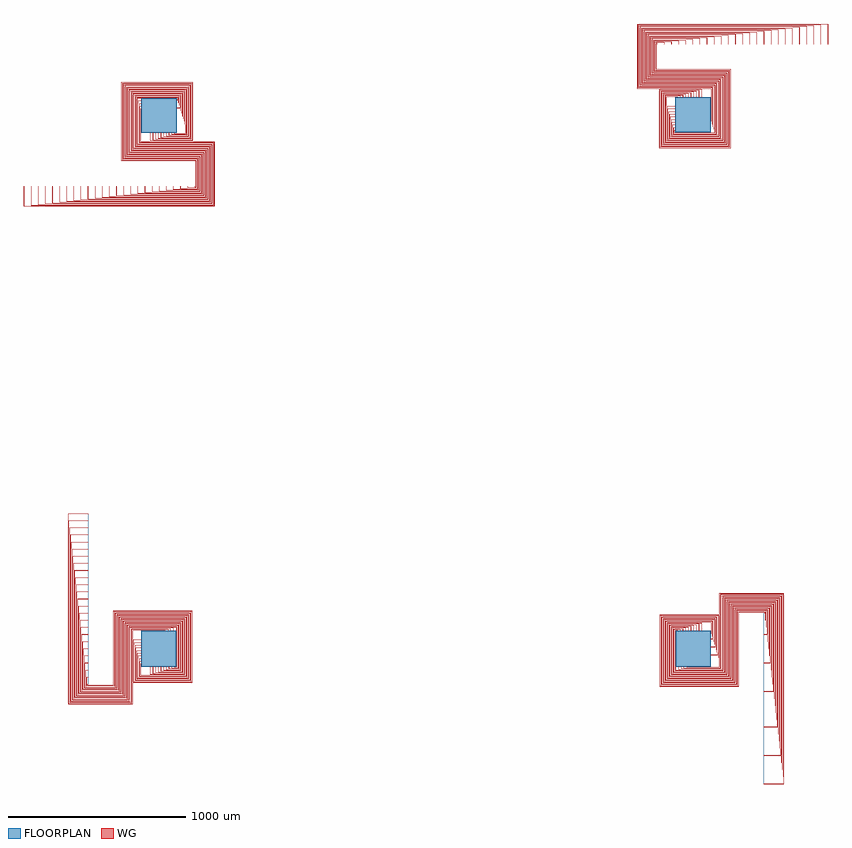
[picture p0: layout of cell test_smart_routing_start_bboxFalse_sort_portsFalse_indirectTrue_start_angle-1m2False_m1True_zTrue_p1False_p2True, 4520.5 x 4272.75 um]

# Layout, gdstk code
import gdstk
lib = gdstk.Library(unit=1e-6, precision=1e-09)
def R(c, l, rs):  # rectangles x0, y0, x1, y1
    for r in rs: c.add(gdstk.rectangle(r[:2], r[2:], *l))
def P(c, l, *ps):  # polygons
    for p in ps: c.add(gdstk.Polygon(p, *l))
WG = (1, 0)
FLOORPLAN = (10, 0)

test_smart_routing_start = lib.new_cell('test_smart_routing_start_bboxFalse_sort_portsFalse_indirectTrue_start_angle-1m2False_m1True_zTrue_p1False_p2True')
P(test_smart_routing_start, WG, [(-404.5,-204.75),(-404.5,-199.75),(-400,-199.75),(-400,-200.25),(-404,-200.25),(-404,-204.25),(-257.5,-204.25),(-257.5,212.5),(185.25,212.5),(185.25,-190),(-145,-190),(-145,50.25),(-100,50.25),(-100,49.75),(-144.5,49.75),(-144.5,-189.5),(184.75,-189.5),(184.75,212),(-257,212),(-257,-204.75)],
  [(-409,-209.25),(-409,-159.75),(-400,-159.75),(-400,-160.25),(-408.5,-160.25),(-408.5,-208.75),(-253,-208.75),(-253,208),(180.75,208),(180.75,-185.5),(-140.5,-185.5),(-140.5,35.25),(-100,35.25),(-100,34.75),(-140,34.75),(-140,-185),(180.25,-185),(180.25,207.5),(-252.5,207.5),(-252.5,-209.25)],
  [(-413.5,-213.75),(-413.5,-119.75),(-400,-119.75),(-400,-120.25),(-413,-120.25),(-413,-213.25),(-248.5,-213.25),(-248.5,203.5),(176.25,203.5),(176.25,-181),(-136,-181),(-136,20.25),(-100,20.25),(-100,19.75),(-135.5,19.75),(-135.5,-180.5),(175.75,-180.5),(175.75,203),(-248,203),(-248,-213.75)],
  [(-418,-218.25),(-418,-79.75),(-400,-79.75),(-400,-80.25),(-417.5,-80.25),(-417.5,-217.75),(-244,-217.75),(-244,199),(171.75,199),(171.75,-176.5),(-131.5,-176.5),(-131.5,5.25),(-100,5.25),(-100,4.75),(-131,4.75),(-131,-176),(171.25,-176),(171.25,198.5),(-243.5,198.5),(-243.5,-218.25)],
  [(-422.5,-222.75),(-422.5,-39.75),(-400,-39.75),(-400,-40.25),(-422,-40.25),(-422,-222.25),(-239.5,-222.25),(-239.5,194.5),(167.25,194.5),(167.25,-172),(-127,-172),(-127,-9.75),(-100,-9.75),(-100,-10.25),(-126.5,-10.25),(-126.5,-171.5),(166.75,-171.5),(166.75,194),(-239,194),(-239,-222.75)],
  [(-427,-227.25),(-427,0.25),(-400,0.25),(-400,-0.25),(-426.5,-0.25),(-426.5,-226.75),(-235,-226.75),(-235,190),(162.75,190),(162.75,-167.5),(-122.5,-167.5),(-122.5,-24.75),(-100,-24.75),(-100,-25.25),(-122,-25.25),(-122,-167),(162.25,-167),(162.25,189.5),(-234.5,189.5),(-234.5,-227.25)],
  [(-431.5,-231.75),(-431.5,40.25),(-400,40.25),(-400,39.75),(-431,39.75),(-431,-231.25),(-230.5,-231.25),(-230.5,185.5),(158.25,185.5),(158.25,-163),(-118,-163),(-118,-39.75),(-100,-39.75),(-100,-40.25),(-117.5,-40.25),(-117.5,-162.5),(157.75,-162.5),(157.75,185),(-230,185),(-230,-231.75)],
  [(-436,-236.25),(-436,80.25),(-400,80.25),(-400,79.75),(-435.5,79.75),(-435.5,-235.75),(-226,-235.75),(-226,181),(153.75,181),(153.75,-158.5),(-113.5,-158.5),(-113.5,-54.75),(-100,-54.75),(-100,-55.25),(-113,-55.25),(-113,-158),(153.25,-158),(153.25,180.5),(-225.5,180.5),(-225.5,-236.25)],
  [(-440.5,-240.75),(-440.5,120.25),(-400,120.25),(-400,119.75),(-440,119.75),(-440,-240.25),(-221.5,-240.25),(-221.5,176.5),(149.25,176.5),(149.25,-154),(-109,-154),(-109,-69.75),(-100,-69.75),(-100,-70.25),(-108.5,-70.25),(-108.5,-153.5),(148.75,-153.5),(148.75,176),(-221,176),(-221,-240.75)],
  [(-445,-245.25),(-445,160.25),(-400,160.25),(-400,159.75),(-444.5,159.75),(-444.5,-244.75),(-217,-244.75),(-217,172),(144.75,172),(144.75,-149.5),(-104.5,-149.5),(-104.5,-84.75),(-100,-84.75),(-100,-85.25),(-104,-85.25),(-104,-149),(144.25,-149),(144.25,171.5),(-216.5,171.5),(-216.5,-245.25)],
  [(-449.5,-249.75),(-449.5,200.25),(-400,200.25),(-400,199.75),(-449,199.75),(-449,-249.25),(-212.5,-249.25),(-212.5,167.5),(140.25,167.5),(140.25,-145),(-50.25,-145),(-50.25,-100),(-49.75,-100),(-49.75,-144.5),(139.75,-144.5),(139.75,167),(-212,167),(-212,-249.75)],
  [(-454,-254.25),(-454,240.25),(-400,240.25),(-400,239.75),(-453.5,239.75),(-453.5,-253.75),(-208,-253.75),(-208,163),(135.75,163),(135.75,-140.5),(-35.25,-140.5),(-35.25,-100),(-34.75,-100),(-34.75,-140),(135.25,-140),(135.25,162.5),(-207.5,162.5),(-207.5,-254.25)],
  [(-458.5,-258.75),(-458.5,280.25),(-400,280.25),(-400,279.75),(-458,279.75),(-458,-258.25),(-203.5,-258.25),(-203.5,158.5),(131.25,158.5),(131.25,-136),(-20.25,-136),(-20.25,-100),(-19.75,-100),(-19.75,-135.5),(130.75,-135.5),(130.75,158),(-203,158),(-203,-258.75)],
  [(-463,-263.25),(-463,320.25),(-400,320.25),(-400,319.75),(-462.5,319.75),(-462.5,-262.75),(-199,-262.75),(-199,154),(126.75,154),(126.75,-131.5),(-5.25,-131.5),(-5.25,-100),(-4.75,-100),(-4.75,-131),(126.25,-131),(126.25,153.5),(-198.5,153.5),(-198.5,-263.25)],
  [(-467.5,-267.75),(-467.5,360.25),(-400,360.25),(-400,359.75),(-467,359.75),(-467,-267.25),(-194.5,-267.25),(-194.5,149.5),(122.25,149.5),(122.25,-127),(9.75,-127),(9.75,-100),(10.25,-100),(10.25,-126.5),(121.75,-126.5),(121.75,149),(-194,149),(-194,-267.75)],
  [(-472,-272.25),(-472,400.25),(-400,400.25),(-400,399.75),(-471.5,399.75),(-471.5,-271.75),(-190,-271.75),(-190,145),(117.75,145),(117.75,-122.5),(24.75,-122.5),(24.75,-100),(25.25,-100),(25.25,-122),(117.25,-122),(117.25,144.5),(-189.5,144.5),(-189.5,-272.25)],
  [(-476.5,-276.75),(-476.5,440.25),(-400,440.25),(-400,439.75),(-476,439.75),(-476,-276.25),(-185.5,-276.25),(-185.5,140.5),(113.25,140.5),(113.25,-118),(39.75,-118),(39.75,-100),(40.25,-100),(40.25,-117.5),(112.75,-117.5),(112.75,140),(-185,140),(-185,-276.75)],
  [(-481,-281.25),(-481,480.25),(-400,480.25),(-400,479.75),(-480.5,479.75),(-480.5,-280.75),(-181,-280.75),(-181,136),(108.75,136),(108.75,-113.5),(54.75,-113.5),(54.75,-100),(55.25,-100),(55.25,-113),(108.25,-113),(108.25,135.5),(-180.5,135.5),(-180.5,-281.25)],
  [(-485.5,-285.75),(-485.5,520.25),(-400,520.25),(-400,519.75),(-485,519.75),(-485,-285.25),(-176.5,-285.25),(-176.5,131.5),(104.25,131.5),(104.25,-109),(69.75,-109),(69.75,-100),(70.25,-100),(70.25,-108.5),(103.75,-108.5),(103.75,131),(-176,131),(-176,-285.75)],
  [(-490,-290.25),(-490,560.25),(-400,560.25),(-400,559.75),(-489.5,559.75),(-489.5,-289.75),(-172,-289.75),(-172,127),(99.75,127),(99.75,-104.5),(84.75,-104.5),(84.75,-100),(85.25,-100),(85.25,-104),(99.25,-104),(99.25,126.5),(-171.5,126.5),(-171.5,-290.25)],
  [(-512.5,-312.75),(-512.5,760.25),(-400,760.25),(-400,759.75),(-512,759.75),(-512,-312.25),(-149.5,-312.25),(-149.5,104.5),(35.25,104.5),(35.25,100),(34.75,100),(34.75,104),(-149,104),(-149,-312.75)],
  [(-508,-308.25),(-508,720.25),(-400,720.25),(-400,719.75),(-507.5,719.75),(-507.5,-307.75),(-154,-307.75),(-154,109),(50.25,109),(50.25,100),(49.75,100),(49.75,108.5),(-153.5,108.5),(-153.5,-308.25)],
  [(-503.5,-303.75),(-503.5,680.25),(-400,680.25),(-400,679.75),(-503,679.75),(-503,-303.25),(-158.5,-303.25),(-158.5,113.5),(65.25,113.5),(65.25,100),(64.75,100),(64.75,113),(-158,113),(-158,-303.75)],
  [(-499,-299.25),(-499,640.25),(-400,640.25),(-400,639.75),(-498.5,639.75),(-498.5,-298.75),(-163,-298.75),(-163,118),(80.25,118),(80.25,100),(79.75,100),(79.75,117.5),(-162.5,117.5),(-162.5,-299.25)],
  [(-494.5,-294.75),(-494.5,600.25),(-400,600.25),(-400,599.75),(-494,599.75),(-494,-294.25),(-167.5,-294.25),(-167.5,122.5),(95.25,122.5),(95.25,100),(94.75,100),(94.75,122),(-167,122),(-167,-294.75)],
  [(199.75,2595.5),(199.75,2600),(200.25,2600),(200.25,2596),(204.25,2596),(204.25,2742.5),(-212.5,2742.5),(-212.5,3185.25),(190,3185.25),(190,2855),(-50.25,2855),(-50.25,2900),(-49.75,2900),(-49.75,2855.5),(189.5,2855.5),(189.5,3184.75),(-212,3184.75),(-212,2743),(204.75,2743),(204.75,2595.5)],
  [(159.75,2591),(159.75,2600),(160.25,2600),(160.25,2591.5),(208.75,2591.5),(208.75,2747),(-208,2747),(-208,3180.75),(185.5,3180.75),(185.5,2859.5),(-35.25,2859.5),(-35.25,2900),(-34.75,2900),(-34.75,2860),(185,2860),(185,3180.25),(-207.5,3180.25),(-207.5,2747.5),(209.25,2747.5),(209.25,2591)],
  [(119.75,2586.5),(119.75,2600),(120.25,2600),(120.25,2587),(213.25,2587),(213.25,2751.5),(-203.5,2751.5),(-203.5,3176.25),(181,3176.25),(181,2864),(-20.25,2864),(-20.25,2900),(-19.75,2900),(-19.75,2864.5),(180.5,2864.5),(180.5,3175.75),(-203,3175.75),(-203,2752),(213.75,2752),(213.75,2586.5)],
  [(79.75,2582),(79.75,2600),(80.25,2600),(80.25,2582.5),(217.75,2582.5),(217.75,2756),(-199,2756),(-199,3171.75),(176.5,3171.75),(176.5,2868.5),(-5.25,2868.5),(-5.25,2900),(-4.75,2900),(-4.75,2869),(176,2869),(176,3171.25),(-198.5,3171.25),(-198.5,2756.5),(218.25,2756.5),(218.25,2582)],
  [(39.75,2577.5),(39.75,2600),(40.25,2600),(40.25,2578),(222.25,2578),(222.25,2760.5),(-194.5,2760.5),(-194.5,3167.25),(172,3167.25),(172,2873),(9.75,2873),(9.75,2900),(10.25,2900),(10.25,2873.5),(171.5,2873.5),(171.5,3166.75),(-194,3166.75),(-194,2761),(222.75,2761),(222.75,2577.5)],
  [(-0.25,2573),(-0.25,2600),(0.25,2600),(0.25,2573.5),(226.75,2573.5),(226.75,2765),(-190,2765),(-190,3162.75),(167.5,3162.75),(167.5,2877.5),(24.75,2877.5),(24.75,2900),(25.25,2900),(25.25,2878),(167,2878),(167,3162.25),(-189.5,3162.25),(-189.5,2765.5),(227.25,2765.5),(227.25,2573)],
  [(-40.25,2568.5),(-40.25,2600),(-39.75,2600),(-39.75,2569),(231.25,2569),(231.25,2769.5),(-185.5,2769.5),(-185.5,3158.25),(163,3158.25),(163,2882),(39.75,2882),(39.75,2900),(40.25,2900),(40.25,2882.5),(162.5,2882.5),(162.5,3157.75),(-185,3157.75),(-185,2770),(231.75,2770),(231.75,2568.5)],
  [(-80.25,2564),(-80.25,2600),(-79.75,2600),(-79.75,2564.5),(235.75,2564.5),(235.75,2774),(-181,2774),(-181,3153.75),(158.5,3153.75),(158.5,2886.5),(54.75,2886.5),(54.75,2900),(55.25,2900),(55.25,2887),(158,2887),(158,3153.25),(-180.5,3153.25),(-180.5,2774.5),(236.25,2774.5),(236.25,2564)],
  [(-120.25,2559.5),(-120.25,2600),(-119.75,2600),(-119.75,2560),(240.25,2560),(240.25,2778.5),(-176.5,2778.5),(-176.5,3149.25),(154,3149.25),(154,2891),(69.75,2891),(69.75,2900),(70.25,2900),(70.25,2891.5),(153.5,2891.5),(153.5,3148.75),(-176,3148.75),(-176,2779),(240.75,2779),(240.75,2559.5)],
  [(-160.25,2555),(-160.25,2600),(-159.75,2600),(-159.75,2555.5),(244.75,2555.5),(244.75,2783),(-172,2783),(-172,3144.75),(149.5,3144.75),(149.5,2895.5),(84.75,2895.5),(84.75,2900),(85.25,2900),(85.25,2896),(149,2896),(149,3144.25),(-171.5,3144.25),(-171.5,2783.5),(245.25,2783.5),(245.25,2555)],
  [(-200.25,2550.5),(-200.25,2600),(-199.75,2600),(-199.75,2551),(249.25,2551),(249.25,2787.5),(-167.5,2787.5),(-167.5,3140.25),(145,3140.25),(145,2949.75),(100,2949.75),(100,2950.25),(144.5,2950.25),(144.5,3139.75),(-167,3139.75),(-167,2788),(249.75,2788),(249.75,2550.5)],
  [(-240.25,2546),(-240.25,2600),(-239.75,2600),(-239.75,2546.5),(253.75,2546.5),(253.75,2792),(-163,2792),(-163,3135.75),(140.5,3135.75),(140.5,2964.75),(100,2964.75),(100,2965.25),(140,2965.25),(140,3135.25),(-162.5,3135.25),(-162.5,2792.5),(254.25,2792.5),(254.25,2546)],
  [(-280.25,2541.5),(-280.25,2600),(-279.75,2600),(-279.75,2542),(258.25,2542),(258.25,2796.5),(-158.5,2796.5),(-158.5,3131.25),(136,3131.25),(136,2979.75),(100,2979.75),(100,2980.25),(135.5,2980.25),(135.5,3130.75),(-158,3130.75),(-158,2797),(258.75,2797),(258.75,2541.5)],
  [(-320.25,2537),(-320.25,2600),(-319.75,2600),(-319.75,2537.5),(262.75,2537.5),(262.75,2801),(-154,2801),(-154,3126.75),(131.5,3126.75),(131.5,2994.75),(100,2994.75),(100,2995.25),(131,2995.25),(131,3126.25),(-153.5,3126.25),(-153.5,2801.5),(263.25,2801.5),(263.25,2537)],
  [(-360.25,2532.5),(-360.25,2600),(-359.75,2600),(-359.75,2533),(267.25,2533),(267.25,2805.5),(-149.5,2805.5),(-149.5,3122.25),(127,3122.25),(127,3009.75),(100,3009.75),(100,3010.25),(126.5,3010.25),(126.5,3121.75),(-149,3121.75),(-149,2806),(267.75,2806),(267.75,2532.5)],
  [(-400.25,2528),(-400.25,2600),(-399.75,2600),(-399.75,2528.5),(271.75,2528.5),(271.75,2810),(-145,2810),(-145,3117.75),(122.5,3117.75),(122.5,3024.75),(100,3024.75),(100,3025.25),(122,3025.25),(122,3117.25),(-144.5,3117.25),(-144.5,2810.5),(272.25,2810.5),(272.25,2528)],
  [(-440.25,2523.5),(-440.25,2600),(-439.75,2600),(-439.75,2524),(276.25,2524),(276.25,2814.5),(-140.5,2814.5),(-140.5,3113.25),(118,3113.25),(118,3039.75),(100,3039.75),(100,3040.25),(117.5,3040.25),(117.5,3112.75),(-140,3112.75),(-140,2815),(276.75,2815),(276.75,2523.5)],
  [(-480.25,2519),(-480.25,2600),(-479.75,2600),(-479.75,2519.5),(280.75,2519.5),(280.75,2819),(-136,2819),(-136,3108.75),(113.5,3108.75),(113.5,3054.75),(100,3054.75),(100,3055.25),(113,3055.25),(113,3108.25),(-135.5,3108.25),(-135.5,2819.5),(281.25,2819.5),(281.25,2519)],
  [(-520.25,2514.5),(-520.25,2600),(-519.75,2600),(-519.75,2515),(285.25,2515),(285.25,2823.5),(-131.5,2823.5),(-131.5,3104.25),(109,3104.25),(109,3069.75),(100,3069.75),(100,3070.25),(108.5,3070.25),(108.5,3103.75),(-131,3103.75),(-131,2824),(285.75,2824),(285.75,2514.5)],
  [(-560.25,2510),(-560.25,2600),(-559.75,2600),(-559.75,2510.5),(289.75,2510.5),(289.75,2828),(-127,2828),(-127,3099.75),(104.5,3099.75),(104.5,3084.75),(100,3084.75),(100,3085.25),(104,3085.25),(104,3099.25),(-126.5,3099.25),(-126.5,2828.5),(290.25,2828.5),(290.25,2510)],
  [(-760.25,2487.5),(-760.25,2600),(-759.75,2600),(-759.75,2488),(312.25,2488),(312.25,2850.5),(-104.5,2850.5),(-104.5,3035.25),(-100,3035.25),(-100,3034.75),(-104,3034.75),(-104,2851),(312.75,2851),(312.75,2487.5)],
  [(-720.25,2492),(-720.25,2600),(-719.75,2600),(-719.75,2492.5),(307.75,2492.5),(307.75,2846),(-109,2846),(-109,3050.25),(-100,3050.25),(-100,3049.75),(-108.5,3049.75),(-108.5,2846.5),(308.25,2846.5),(308.25,2492)],
  [(-680.25,2496.5),(-680.25,2600),(-679.75,2600),(-679.75,2497),(303.25,2497),(303.25,2841.5),(-113.5,2841.5),(-113.5,3065.25),(-100,3065.25),(-100,3064.75),(-113,3064.75),(-113,2842),(303.75,2842),(303.75,2496.5)],
  [(-640.25,2501),(-640.25,2600),(-639.75,2600),(-639.75,2501.5),(298.75,2501.5),(298.75,2837),(-118,2837),(-118,3080.25),(-100,3080.25),(-100,3079.75),(-117.5,3079.75),(-117.5,2837.5),(299.25,2837.5),(299.25,2501)],
  [(-600.25,2505.5),(-600.25,2600),(-599.75,2600),(-599.75,2506),(294.25,2506),(294.25,2832.5),(-122.5,2832.5),(-122.5,3095.25),(-100,3095.25),(-100,3094.75),(-122,3094.75),(-122,2833),(294.75,2833),(294.75,2505.5)],
  [(2814.75,-212.5),(2814.75,190),(3145,190),(3145,-50.25),(3100,-50.25),(3100,-49.75),(3144.5,-49.75),(3144.5,189.5),(2815.25,189.5),(2815.25,-212),(3257,-212),(3257,204.75),(3404.5,204.75),(3404.5,199.75),(3400,199.75),(3400,200.25),(3404,200.25),(3404,204.25),(3257.5,204.25),(3257.5,-212.5)],
  [(2819.25,-208),(2819.25,185.5),(3140.5,185.5),(3140.5,-35.25),(3100,-35.25),(3100,-34.75),(3140,-34.75),(3140,185),(2819.75,185),(2819.75,-207.5),(3252.5,-207.5),(3252.5,209.25),(3409,209.25),(3409,159.75),(3400,159.75),(3400,160.25),(3408.5,160.25),(3408.5,208.75),(3253,208.75),(3253,-208)],
  [(2823.75,-203.5),(2823.75,181),(3136,181),(3136,-20.25),(3100,-20.25),(3100,-19.75),(3135.5,-19.75),(3135.5,180.5),(2824.25,180.5),(2824.25,-203),(3248,-203),(3248,213.75),(3413.5,213.75),(3413.5,119.75),(3400,119.75),(3400,120.25),(3413,120.25),(3413,213.25),(3248.5,213.25),(3248.5,-203.5)],
  [(2828.25,-199),(2828.25,176.5),(3131.5,176.5),(3131.5,-5.25),(3100,-5.25),(3100,-4.75),(3131,-4.75),(3131,176),(2828.75,176),(2828.75,-198.5),(3243.5,-198.5),(3243.5,218.25),(3418,218.25),(3418,79.75),(3400,79.75),(3400,80.25),(3417.5,80.25),(3417.5,217.75),(3244,217.75),(3244,-199)],
  [(2832.75,-194.5),(2832.75,172),(3127,172),(3127,9.75),(3100,9.75),(3100,10.25),(3126.5,10.25),(3126.5,171.5),(2833.25,171.5),(2833.25,-194),(3239,-194),(3239,222.75),(3422.5,222.75),(3422.5,39.75),(3400,39.75),(3400,40.25),(3422,40.25),(3422,222.25),(3239.5,222.25),(3239.5,-194.5)],
  [(2837.25,-190),(2837.25,167.5),(3122.5,167.5),(3122.5,24.75),(3100,24.75),(3100,25.25),(3122,25.25),(3122,167),(2837.75,167),(2837.75,-189.5),(3234.5,-189.5),(3234.5,227.25),(3427,227.25),(3427,-0.25),(3400,-0.25),(3400,0.25),(3426.5,0.25),(3426.5,226.75),(3235,226.75),(3235,-190)],
  [(2841.75,-185.5),(2841.75,163),(3118,163),(3118,39.75),(3100,39.75),(3100,40.25),(3117.5,40.25),(3117.5,162.5),(2842.25,162.5),(2842.25,-185),(3230,-185),(3230,231.75),(3431.5,231.75),(3431.5,-40.25),(3400,-40.25),(3400,-39.75),(3431,-39.75),(3431,231.25),(3230.5,231.25),(3230.5,-185.5)],
  [(2846.25,-181),(2846.25,158.5),(3113.5,158.5),(3113.5,54.75),(3100,54.75),(3100,55.25),(3113,55.25),(3113,158),(2846.75,158),(2846.75,-180.5),(3225.5,-180.5),(3225.5,236.25),(3436,236.25),(3436,-80.25),(3400,-80.25),(3400,-79.75),(3435.5,-79.75),(3435.5,235.75),(3226,235.75),(3226,-181)],
  [(2850.75,-176.5),(2850.75,154),(3109,154),(3109,69.75),(3100,69.75),(3100,70.25),(3108.5,70.25),(3108.5,153.5),(2851.25,153.5),(2851.25,-176),(3221,-176),(3221,240.75),(3440.5,240.75),(3440.5,-120.25),(3400,-120.25),(3400,-119.75),(3440,-119.75),(3440,240.25),(3221.5,240.25),(3221.5,-176.5)],
  [(2855.25,-172),(2855.25,149.5),(3104.5,149.5),(3104.5,84.75),(3100,84.75),(3100,85.25),(3104,85.25),(3104,149),(2855.75,149),(2855.75,-171.5),(3216.5,-171.5),(3216.5,245.25),(3445,245.25),(3445,-160.25),(3400,-160.25),(3400,-159.75),(3444.5,-159.75),(3444.5,244.75),(3217,244.75),(3217,-172)],
  [(3400,-200.25),(3400,-199.75),(3449,-199.75),(3449,249.25),(3212.5,249.25),(3212.5,-167.5),(2859.75,-167.5),(2859.75,145),(3050.25,145),(3050.25,100),(3049.75,100),(3049.75,144.5),(2860.25,144.5),(2860.25,-167),(3212,-167),(3212,249.75),(3449.5,249.75),(3449.5,-200.25)],
  [(3400,-240.25),(3400,-239.75),(3453.5,-239.75),(3453.5,253.75),(3208,253.75),(3208,-163),(2864.25,-163),(2864.25,140.5),(3035.25,140.5),(3035.25,100),(3034.75,100),(3034.75,140),(2864.75,140),(2864.75,-162.5),(3207.5,-162.5),(3207.5,254.25),(3454,254.25),(3454,-240.25)],
  [(3400,-280.25),(3400,-279.75),(3458,-279.75),(3458,258.25),(3203.5,258.25),(3203.5,-158.5),(2868.75,-158.5),(2868.75,136),(3020.25,136),(3020.25,100),(3019.75,100),(3019.75,135.5),(2869.25,135.5),(2869.25,-158),(3203,-158),(3203,258.75),(3458.5,258.75),(3458.5,-280.25)],
  [(3400,-320.25),(3400,-319.75),(3462.5,-319.75),(3462.5,262.75),(3199,262.75),(3199,-154),(2873.25,-154),(2873.25,131.5),(3005.25,131.5),(3005.25,100),(3004.75,100),(3004.75,131),(2873.75,131),(2873.75,-153.5),(3198.5,-153.5),(3198.5,263.25),(3463,263.25),(3463,-320.25)],
  [(3400,-360.25),(3400,-359.75),(3467,-359.75),(3467,267.25),(3194.5,267.25),(3194.5,-149.5),(2877.75,-149.5),(2877.75,127),(2990.25,127),(2990.25,100),(2989.75,100),(2989.75,126.5),(2878.25,126.5),(2878.25,-149),(3194,-149),(3194,267.75),(3467.5,267.75),(3467.5,-360.25)],
  [(3400,-400.25),(3400,-399.75),(3471.5,-399.75),(3471.5,271.75),(3190,271.75),(3190,-145),(2882.25,-145),(2882.25,122.5),(2975.25,122.5),(2975.25,100),(2974.75,100),(2974.75,122),(2882.75,122),(2882.75,-144.5),(3189.5,-144.5),(3189.5,272.25),(3472,272.25),(3472,-400.25)],
  [(3400,-440.25),(3400,-439.75),(3476,-439.75),(3476,276.25),(3185.5,276.25),(3185.5,-140.5),(2886.75,-140.5),(2886.75,118),(2960.25,118),(2960.25,100),(2959.75,100),(2959.75,117.5),(2887.25,117.5),(2887.25,-140),(3185,-140),(3185,276.75),(3476.5,276.75),(3476.5,-440.25)],
  [(3400,-480.25),(3400,-479.75),(3480.5,-479.75),(3480.5,280.75),(3181,280.75),(3181,-136),(2891.25,-136),(2891.25,113.5),(2945.25,113.5),(2945.25,100),(2944.75,100),(2944.75,113),(2891.75,113),(2891.75,-135.5),(3180.5,-135.5),(3180.5,281.25),(3481,281.25),(3481,-480.25)],
  [(3400,-520.25),(3400,-519.75),(3485,-519.75),(3485,285.25),(3176.5,285.25),(3176.5,-131.5),(2895.75,-131.5),(2895.75,109),(2930.25,109),(2930.25,100),(2929.75,100),(2929.75,108.5),(2896.25,108.5),(2896.25,-131),(3176,-131),(3176,285.75),(3485.5,285.75),(3485.5,-520.25)],
  [(3400,-560.25),(3400,-559.75),(3489.5,-559.75),(3489.5,289.75),(3172,289.75),(3172,-127),(2900.25,-127),(2900.25,104.5),(2915.25,104.5),(2915.25,100),(2914.75,100),(2914.75,104),(2900.75,104),(2900.75,-126.5),(3171.5,-126.5),(3171.5,290.25),(3490,290.25),(3490,-560.25)],
  [(3400,-760.25),(3400,-759.75),(3512,-759.75),(3512,312.25),(3149.5,312.25),(3149.5,-104.5),(2964.75,-104.5),(2964.75,-100),(2965.25,-100),(2965.25,-104),(3149,-104),(3149,312.75),(3512.5,312.75),(3512.5,-760.25)],
  [(3400,-720.25),(3400,-719.75),(3507.5,-719.75),(3507.5,307.75),(3154,307.75),(3154,-109),(2949.75,-109),(2949.75,-100),(2950.25,-100),(2950.25,-108.5),(3153.5,-108.5),(3153.5,308.25),(3508,308.25),(3508,-720.25)],
  [(3400,-680.25),(3400,-679.75),(3503,-679.75),(3503,303.25),(3158.5,303.25),(3158.5,-113.5),(2934.75,-113.5),(2934.75,-100),(2935.25,-100),(2935.25,-113),(3158,-113),(3158,303.75),(3503.5,303.75),(3503.5,-680.25)],
  [(3400,-640.25),(3400,-639.75),(3498.5,-639.75),(3498.5,298.75),(3163,298.75),(3163,-118),(2919.75,-118),(2919.75,-100),(2920.25,-100),(2920.25,-117.5),(3162.5,-117.5),(3162.5,299.25),(3499,299.25),(3499,-640.25)],
  [(3400,-600.25),(3400,-599.75),(3494,-599.75),(3494,294.25),(3167.5,294.25),(3167.5,-122.5),(2904.75,-122.5),(2904.75,-100),(2905.25,-100),(2905.25,-122),(3167,-122),(3167,294.75),(3494.5,294.75),(3494.5,-600.25)],
  [(2810,2814.75),(2810,3145),(3050.25,3145),(3050.25,3100),(3049.75,3100),(3049.75,3144.5),(2810.5,3144.5),(2810.5,2815.25),(3212,2815.25),(3212,3257),(2795.25,3257),(2795.25,3404.5),(2800.25,3404.5),(2800.25,3400),(2799.75,3400),(2799.75,3404),(2795.75,3404),(2795.75,3257.5),(3212.5,3257.5),(3212.5,2814.75)],
  [(2814.5,2819.25),(2814.5,3140.5),(3035.25,3140.5),(3035.25,3100),(3034.75,3100),(3034.75,3140),(2815,3140),(2815,2819.75),(3207.5,2819.75),(3207.5,3252.5),(2790.75,3252.5),(2790.75,3409),(2840.25,3409),(2840.25,3400),(2839.75,3400),(2839.75,3408.5),(2791.25,3408.5),(2791.25,3253),(3208,3253),(3208,2819.25)],
  [(2819,2823.75),(2819,3136),(3020.25,3136),(3020.25,3100),(3019.75,3100),(3019.75,3135.5),(2819.5,3135.5),(2819.5,2824.25),(3203,2824.25),(3203,3248),(2786.25,3248),(2786.25,3413.5),(2880.25,3413.5),(2880.25,3400),(2879.75,3400),(2879.75,3413),(2786.75,3413),(2786.75,3248.5),(3203.5,3248.5),(3203.5,2823.75)],
  [(2823.5,2828.25),(2823.5,3131.5),(3005.25,3131.5),(3005.25,3100),(3004.75,3100),(3004.75,3131),(2824,3131),(2824,2828.75),(3198.5,2828.75),(3198.5,3243.5),(2781.75,3243.5),(2781.75,3418),(2920.25,3418),(2920.25,3400),(2919.75,3400),(2919.75,3417.5),(2782.25,3417.5),(2782.25,3244),(3199,3244),(3199,2828.25)],
  [(2828,2832.75),(2828,3127),(2990.25,3127),(2990.25,3100),(2989.75,3100),(2989.75,3126.5),(2828.5,3126.5),(2828.5,2833.25),(3194,2833.25),(3194,3239),(2777.25,3239),(2777.25,3422.5),(2960.25,3422.5),(2960.25,3400),(2959.75,3400),(2959.75,3422),(2777.75,3422),(2777.75,3239.5),(3194.5,3239.5),(3194.5,2832.75)],
  [(2832.5,2837.25),(2832.5,3122.5),(2975.25,3122.5),(2975.25,3100),(2974.75,3100),(2974.75,3122),(2833,3122),(2833,2837.75),(3189.5,2837.75),(3189.5,3234.5),(2772.75,3234.5),(2772.75,3427),(3000.25,3427),(3000.25,3400),(2999.75,3400),(2999.75,3426.5),(2773.25,3426.5),(2773.25,3235),(3190,3235),(3190,2837.25)],
  [(2837,2841.75),(2837,3118),(2960.25,3118),(2960.25,3100),(2959.75,3100),(2959.75,3117.5),(2837.5,3117.5),(2837.5,2842.25),(3185,2842.25),(3185,3230),(2768.25,3230),(2768.25,3431.5),(3040.25,3431.5),(3040.25,3400),(3039.75,3400),(3039.75,3431),(2768.75,3431),(2768.75,3230.5),(3185.5,3230.5),(3185.5,2841.75)],
  [(2841.5,2846.25),(2841.5,3113.5),(2945.25,3113.5),(2945.25,3100),(2944.75,3100),(2944.75,3113),(2842,3113),(2842,2846.75),(3180.5,2846.75),(3180.5,3225.5),(2763.75,3225.5),(2763.75,3436),(3080.25,3436),(3080.25,3400),(3079.75,3400),(3079.75,3435.5),(2764.25,3435.5),(2764.25,3226),(3181,3226),(3181,2846.25)],
  [(2846,2850.75),(2846,3109),(2930.25,3109),(2930.25,3100),(2929.75,3100),(2929.75,3108.5),(2846.5,3108.5),(2846.5,2851.25),(3176,2851.25),(3176,3221),(2759.25,3221),(2759.25,3440.5),(3120.25,3440.5),(3120.25,3400),(3119.75,3400),(3119.75,3440),(2759.75,3440),(2759.75,3221.5),(3176.5,3221.5),(3176.5,2850.75)],
  [(2850.5,2855.25),(2850.5,3104.5),(2915.25,3104.5),(2915.25,3100),(2914.75,3100),(2914.75,3104),(2851,3104),(2851,2855.75),(3171.5,2855.75),(3171.5,3216.5),(2754.75,3216.5),(2754.75,3445),(3160.25,3445),(3160.25,3400),(3159.75,3400),(3159.75,3444.5),(2755.25,3444.5),(2755.25,3217),(3172,3217),(3172,2855.25)],
  [(2855,2859.75),(2855,3050.25),(2900,3050.25),(2900,3049.75),(2855.5,3049.75),(2855.5,2860.25),(3167,2860.25),(3167,3212),(2750.25,3212),(2750.25,3449.5),(3200.25,3449.5),(3200.25,3400),(3199.75,3400),(3199.75,3449),(2750.75,3449),(2750.75,3212.5),(3167.5,3212.5),(3167.5,2859.75)],
  [(2859.5,2864.25),(2859.5,3035.25),(2900,3035.25),(2900,3034.75),(2860,3034.75),(2860,2864.75),(3162.5,2864.75),(3162.5,3207.5),(2745.75,3207.5),(2745.75,3454),(3240.25,3454),(3240.25,3400),(3239.75,3400),(3239.75,3453.5),(2746.25,3453.5),(2746.25,3208),(3163,3208),(3163,2864.25)],
  [(2864,2868.75),(2864,3020.25),(2900,3020.25),(2900,3019.75),(2864.5,3019.75),(2864.5,2869.25),(3158,2869.25),(3158,3203),(2741.25,3203),(2741.25,3458.5),(3280.25,3458.5),(3280.25,3400),(3279.75,3400),(3279.75,3458),(2741.75,3458),(2741.75,3203.5),(3158.5,3203.5),(3158.5,2868.75)],
  [(2868.5,2873.25),(2868.5,3005.25),(2900,3005.25),(2900,3004.75),(2869,3004.75),(2869,2873.75),(3153.5,2873.75),(3153.5,3198.5),(2736.75,3198.5),(2736.75,3463),(3320.25,3463),(3320.25,3400),(3319.75,3400),(3319.75,3462.5),(2737.25,3462.5),(2737.25,3199),(3154,3199),(3154,2873.25)],
  [(2873,2877.75),(2873,2990.25),(2900,2990.25),(2900,2989.75),(2873.5,2989.75),(2873.5,2878.25),(3149,2878.25),(3149,3194),(2732.25,3194),(2732.25,3467.5),(3360.25,3467.5),(3360.25,3400),(3359.75,3400),(3359.75,3467),(2732.75,3467),(2732.75,3194.5),(3149.5,3194.5),(3149.5,2877.75)],
  [(2877.5,2882.25),(2877.5,2975.25),(2900,2975.25),(2900,2974.75),(2878,2974.75),(2878,2882.75),(3144.5,2882.75),(3144.5,3189.5),(2727.75,3189.5),(2727.75,3472),(3400.25,3472),(3400.25,3400),(3399.75,3400),(3399.75,3471.5),(2728.25,3471.5),(2728.25,3190),(3145,3190),(3145,2882.25)],
  [(2882,2886.75),(2882,2960.25),(2900,2960.25),(2900,2959.75),(2882.5,2959.75),(2882.5,2887.25),(3140,2887.25),(3140,3185),(2723.25,3185),(2723.25,3476.5),(3440.25,3476.5),(3440.25,3400),(3439.75,3400),(3439.75,3476),(2723.75,3476),(2723.75,3185.5),(3140.5,3185.5),(3140.5,2886.75)],
  [(2886.5,2891.25),(2886.5,2945.25),(2900,2945.25),(2900,2944.75),(2887,2944.75),(2887,2891.75),(3135.5,2891.75),(3135.5,3180.5),(2718.75,3180.5),(2718.75,3481),(3480.25,3481),(3480.25,3400),(3479.75,3400),(3479.75,3480.5),(2719.25,3480.5),(2719.25,3181),(3136,3181),(3136,2891.25)],
  [(2891,2895.75),(2891,2930.25),(2900,2930.25),(2900,2929.75),(2891.5,2929.75),(2891.5,2896.25),(3131,2896.25),(3131,3176),(2714.25,3176),(2714.25,3485.5),(3520.25,3485.5),(3520.25,3400),(3519.75,3400),(3519.75,3485),(2714.75,3485),(2714.75,3176.5),(3131.5,3176.5),(3131.5,2895.75)],
  [(2895.5,2900.25),(2895.5,2915.25),(2900,2915.25),(2900,2914.75),(2896,2914.75),(2896,2900.75),(3126.5,2900.75),(3126.5,3171.5),(2709.75,3171.5),(2709.75,3490),(3560.25,3490),(3560.25,3400),(3559.75,3400),(3559.75,3489.5),(2710.25,3489.5),(2710.25,3172),(3127,3172),(3127,2900.25)],
  [(3100,2964.75),(3100,2965.25),(3104,2965.25),(3104,3149),(2687.25,3149),(2687.25,3512.5),(3760.25,3512.5),(3760.25,3400),(3759.75,3400),(3759.75,3512),(2687.75,3512),(2687.75,3149.5),(3104.5,3149.5),(3104.5,2964.75)],
  [(3100,2949.75),(3100,2950.25),(3108.5,2950.25),(3108.5,3153.5),(2691.75,3153.5),(2691.75,3508),(3720.25,3508),(3720.25,3400),(3719.75,3400),(3719.75,3507.5),(2692.25,3507.5),(2692.25,3154),(3109,3154),(3109,2949.75)],
  [(3100,2934.75),(3100,2935.25),(3113,2935.25),(3113,3158),(2696.25,3158),(2696.25,3503.5),(3680.25,3503.5),(3680.25,3400),(3679.75,3400),(3679.75,3503),(2696.75,3503),(2696.75,3158.5),(3113.5,3158.5),(3113.5,2934.75)],
  [(3100,2919.75),(3100,2920.25),(3117.5,2920.25),(3117.5,3162.5),(2700.75,3162.5),(2700.75,3499),(3640.25,3499),(3640.25,3400),(3639.75,3400),(3639.75,3498.5),(2701.25,3498.5),(2701.25,3163),(3118,3163),(3118,2919.75)],
  [(3100,2904.75),(3100,2905.25),(3122,2905.25),(3122,3167),(2705.25,3167),(2705.25,3494.5),(3600.25,3494.5),(3600.25,3400),(3599.75,3400),(3599.75,3494),(2705.75,3494),(2705.75,3167.5),(3122.5,3167.5),(3122.5,2904.75)])
R(test_smart_routing_start, FLOORPLAN, [(-100,-100,95,100), (2905,-100,3100,100), (-100,2900,100,3095), (2900,2905,3100,3100)])
P(test_smart_routing_start, FLOORPLAN, [(-400,-200),(-400,760),(-400,760),(-400,-200)],
  [(-760,2600),(-760,2600),(200,2600),(200,2600)],
  [(3400,-760),(3400,200),(3400,200),(3400,-760)],
  [(2800,3400),(2800,3400),(3760,3400),(3760,3400)])

lib.write_gds('test_smart_routing_start_bboxFalse_sort_portsFalse_indirectTrue_start_angle-1m2False_m1True_zTrue_p1False_p2True.gds')
